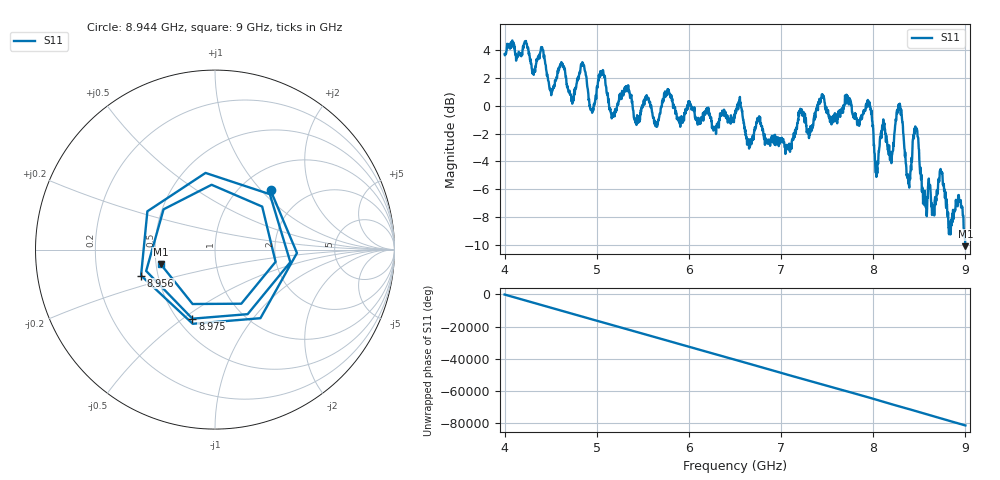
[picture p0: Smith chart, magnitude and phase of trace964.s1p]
! Created with skrf 1.8.0 (http://scikit-rf.org).
# Hz S RI R 50.0
!freq ReS11 ImS11
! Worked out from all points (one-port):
!   1601 points, 4 GHz to 9 GHz, reference 50 ohm
!   lowest |S11| = -10.1 dB at 9 GHz (marker M1), VSWR 1.91, Z = 26.4 - j4.71 ohm
!   |S11| at or under -10 dB: 8.999442 GHz to end of sweep
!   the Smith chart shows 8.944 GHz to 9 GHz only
!   S11 on the Smith chart (normalised r, x): 8.944 GHz: 1.36, +1.13; 8.956 GHz: 0.40, -0.14; 8.975 GHz: 0.59, -0.54; 9 GHz: 0.53, -0.09
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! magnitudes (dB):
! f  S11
! 4 GHz  3.7
! 4.406 GHz  4.2
! 4.509 GHz  1.1
! 4.625 GHz  2.9
! 4.731 GHz  0.5
! 4.853 GHz  2.9
! 4.944 GHz  -0.3
! 5.047 GHz  2.2
! 5.162 GHz  -0.9
! 5.25 GHz  0.5
! 5.875 GHz  -1.0
! 6.5 GHz  -0.6
! 7.125 GHz  -2.4
! 7.75 GHz  0.4
! 7.956 GHz  -0.1
! 8.038 GHz  -4.6
! 8.106 GHz  -1.3
! 8.2 GHz  -3.9
! 8.284 GHz  0.0
! 8.375 GHz  -4.9
! 8.462 GHz  -1.6
! 8.562 GHz  -6.6
! 8.731 GHz  -4.5
! 8.831 GHz  -8.6
! 8.944 GHz  -6.9
! 8.956 GHz  -7.2
! 8.975 GHz  -7.9
! 9 GHz  -10.1
